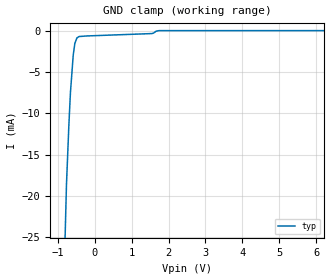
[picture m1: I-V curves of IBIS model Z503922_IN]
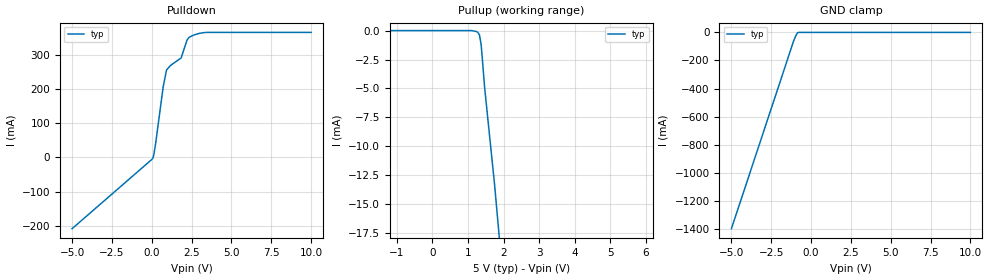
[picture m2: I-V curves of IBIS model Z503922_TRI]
| YOU ARE ONLY AUTHORIZED TO USE THIS SOFTWARE
| ACCORDING TO LICENSOR'S LICENSE RESTRICTIONS.
[IBIS Ver] 3.1
[File Name] mc54f241j.ibs
[File Rev] 2.0
[Source] Measured and created by ICX Technology
[Date] Friday 7/14/00 9:08:02 AM
[Copyright]
| (C) COPYRIGHT 1993-2000
| MENTOR GRAPHICS CORPORATION
| ICX STANDARD LIBRARY, ICX PROJECT MODELING,
| ICX CUSTOM MODELING, ICX VENDOR MODEL
| ALL RIGHTS RESERVED.
| THE FOLLOWING ARE TRADEMARKS OR SERVICE MARKS OF
| MENTOR GRAPHICS CORPORATION:ICX (R), ICX STANDARD
| LIBRARY(R), ICX PROJECT MODELING(R), ICX CUSTOM
| MODELING(R), qualityIBIS(TM), MODELVIEWER(TM),
| AND MODELEDITOR(TM)
| ALL COPIES OF SOFTWARE, INCLUDING BUT NOT LIMITED TO
| ANY MODIFICATIONS, ENHANCEMENTS OR DERIVATIVE WORKS,
| MUST CONTAIN ALL MENTOR GRAPHICS CORPORATION'S
| NOTICES AND LEGENDS, INCLUDING THOSE EMBEDDED IN
| SOFTWARE AND THOSE AFFIXED TO SOFTWARE MEDIUM
| AND CONTAINER, AS RECEIVED FROM MENTOR GRAPHICS
| CORPORATION.
|  ZAP Model Builder 2.7
[Component] MC54F241J
[Manufacturer] OnSemiconductor
[Package]
| variable   typ   min   max
R_pkg  .216ohms NA NA
L_pkg  5.76nH NA NA
C_pkg  2.193pF NA NA
[Pin] signal_name  model_name  R_pin  L_pin C_pin
1 _G1 Z503922_IN .232 9.76n 3.179p
2 A0 Z503922_IN .224 7.26n 2.686p
3 Y7 Z503922_TRI .216 5.26n 2.193p
4 A1 Z503922_IN .208 3.76n 1.7p
5 Y6 Z503922_TRI .2 2.76n 1.207p
6 A2 Z503922_IN .2 2.76n 1.207p
7 Y5 Z503922_TRI .208 3.76n 1.7p
8 A3 Z503922_IN .216 5.26n 2.193p
9 Y4 Z503922_TRI .224 7.26n 2.686p
10 GND GND .232 9.76n 3.179p
11 A4 Z503922_IN .232 9.76n 3.179p
12 Y3 Z503922_TRI .224 7.26n 2.686p
13 A5 Z503922_IN .216 5.26n 2.193p
14 Y2 Z503922_TRI .208 3.76n 1.7p
15 A6 Z503922_IN .2 2.76n 1.207p
16 Y1 Z503922_TRI .2 2.76n 1.207p
17 A7 Z503922_IN .208 3.76n 1.7p
18 Y0 Z503922_TRI .216 5.26n 2.193p
19 G2 Z503922_IN .224 7.26n 2.686p
20 VCC POWER .232 9.76n 3.179p
| Models and submodels in the file (2): Z503922_IN (Input), Z503922_TRI (3-state)
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| (C) COPYRIGHT 1993-2000
| MENTOR GRAPHICS CORPORATION
| ICX STANDARD LIBRARY, ICX PROJECT MODELING,
| ICX CUSTOM MODELING, ICX VENDOR MODEL
| ALL RIGHTS RESERVED.
| THE FOLLOWING ARE TRADEMARKS OR SERVICE MARKS OF
| MENTOR GRAPHICS CORPORATION:ICX (R), ICX STANDARD
| LIBRARY(R), ICX PROJECT MODELING(R), ICX CUSTOM
| MODELING(R), qualityIBIS(TM), MODELVIEWER(TM),
| AND MODELEDITOR(TM)
| ALL COPIES OF SOFTWARE, INCLUDING BUT NOT LIMITED TO
| ANY MODIFICATIONS, ENHANCEMENTS OR DERIVATIVE WORKS,
| MUST CONTAIN ALL MENTOR GRAPHICS CORPORATION'S
| NOTICES AND LEGENDS, INCLUDING THOSE EMBEDDED IN
| SOFTWARE AND THOSE AFFIXED TO SOFTWARE MEDIUM
| AND CONTAINER, AS RECEIVED FROM MENTOR GRAPHICS
| CORPORATION.
| Model Application Version 1.89 2/18/99.
[Model] Z503922_IN
Model_type Input
Vinl = 800.0mV
Vinh = 2.000V
C_comp 4.000pF NA NA
| variable typ   min   max
[Voltage Range] 5.000V NA NA
[GND Clamp Reference] 0.000V NA NA
[POWER Clamp Reference] 5.000V NA NA
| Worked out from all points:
|   GND clamp passes 1 mA (typ) near -0.49 V on its own axis
[GND Clamp]
-5V       -747.1mA   NA         NA
-761.6mV  -18.59mA   NA         NA
-694.3mV  -11.16mA   NA         NA
-654.3mV  -7.482mA   NA         NA
-579.3mV  -2.978mA   NA         NA
-535.7mV  -1.56mA    NA         NA
-478.5mV  -878.9uA   NA         NA
-420.2mV  -717.9uA   NA         NA
1.547V    -359.3uA   NA         NA
1.665V    -73.48uA   NA         NA
1.743V    -5.394uA   NA         NA
10V       1.849uA    NA         NA
[POWER Clamp]
-5V       0A         NA         NA
10V       0A         NA         NA
| (C) COPYRIGHT 1993-2000
| MENTOR GRAPHICS CORPORATION
| ICX STANDARD LIBRARY, ICX PROJECT MODELING,
| ICX CUSTOM MODELING, ICX VENDOR MODEL
| ALL RIGHTS RESERVED.
| THE FOLLOWING ARE TRADEMARKS OR SERVICE MARKS OF
| MENTOR GRAPHICS CORPORATION:ICX (R), ICX STANDARD
| LIBRARY(R), ICX PROJECT MODELING(R), ICX CUSTOM
| MODELING(R), qualityIBIS(TM), MODELVIEWER(TM),
| AND MODELEDITOR(TM)
| ALL COPIES OF SOFTWARE, INCLUDING BUT NOT LIMITED TO
| ANY MODIFICATIONS, ENHANCEMENTS OR DERIVATIVE WORKS,
| MUST CONTAIN ALL MENTOR GRAPHICS CORPORATION'S
| NOTICES AND LEGENDS, INCLUDING THOSE EMBEDDED IN
| SOFTWARE AND THOSE AFFIXED TO SOFTWARE MEDIUM
| AND CONTAINER, AS RECEIVED FROM MENTOR GRAPHICS
| CORPORATION.
| Model Application Version 1.89 2/18/99.
[Model] Z503922_TRI
Model_type 3-state
Vref=0.000V
Rref=500.0ohms
Cref=50.00pF
Vmeas=1.500V
C_comp 8.000pF NA NA
| variable typ   min   max
[Voltage Range] 5.000V NA NA
[POWER Clamp Reference] 5.000V NA NA
[Pullup Reference] 5.000V NA NA
[Pulldown Reference] 0.000V NA NA
[GND Clamp Reference] 0.000V NA NA
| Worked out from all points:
|   slope of the pulldown table from 0 to 0.75 V, typ, clamps not added: 3.4 ohm
|   GND clamp passes 1 mA (typ) near -0.81 V on its own axis
[GND Clamp]
-5V       -1.397A    NA         NA
-1.104V   -63.36mA   NA         NA
-984.1mV  -29.77mA   NA         NA
-859mV    -3.349mA   NA         NA
-787.4mV  0A         NA         NA
10V       0A         NA         NA
[Pulldown]
-5V       -208.5mA   NA         NA
34.14mV   -4.53mA    NA         NA
124.3mV   6.878mA    NA         NA
243.9mV   41.19mA    NA         NA
718.8mV   207.4mA    NA         NA
928.9mV   256.3mA    NA         NA
1.172V    269.5mA    NA         NA
1.846V    291.7mA    NA         NA
2.207V    343.3mA    NA         NA
2.321V    350.9mA    NA         NA
3.457V    366.4mA    NA         NA
10V       366.4mA    NA         NA
[Pullup]
-5V       4.751uA    NA         NA
1.103V    4.751uA    NA         NA
1.243V    -78.4uA    NA         NA
1.279V    -157.5uA   NA         NA
1.323V    -365.9uA   NA         NA
1.372V    -1.237mA   NA         NA
1.47V     -4.967mA   NA         NA
1.748V    -13.31mA   NA         NA
10V       -297.5mA   NA         NA
[POWER Clamp]
-5V       0A         NA         NA
10V       0A         NA         NA
[Ramp]
| variable typ min max
dV/dt_r 2.031/1.721n NA NA
dV/dt_f 2.031/845.8p NA NA
R_load = 500.0Ohms
